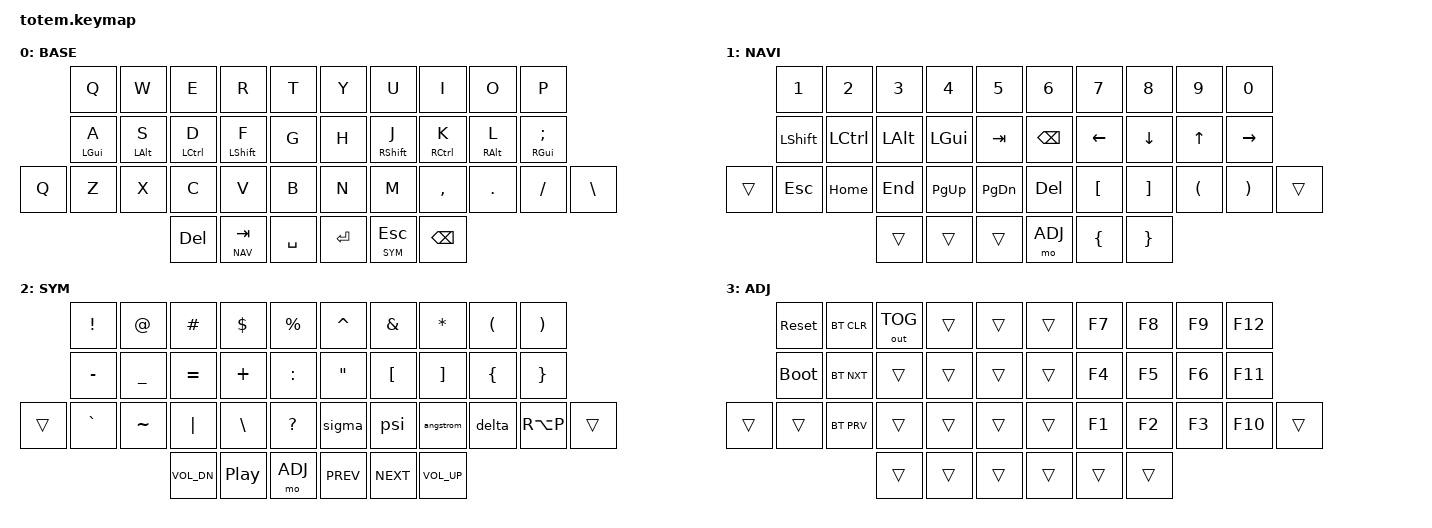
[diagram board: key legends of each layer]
//
//                                                        ▀▀▀▀▀     ▀▀▀▀▀          ▀▀█▀▀
//                                                        ▄▀▀▀▄  ▄  ▄▀▀▀▄  ▄  ▄▀▀▀▄  █  ▄▀▀▀▄
//                                                        █   █  █  █   █  █  █   █  █  █   █
//                                                         ▀▀▀   █   ▀▀▀   █   ▀▀▀   ▀   ▀▀▀
//                                                               █      ▄▄▄█▄▄▄    █   █  
//                                                               ▀      █  █  █     █▄█
//                                                             ▀▀▀▀▀    █  █  █      ▀
//                                                                      ▀  ▀  ▀
//
// ▄▄▄▄▄▄▄▄▄▄▄▄▄▄▄▄▄▄▄▄▄▄▄▄▄▄▄▄▄▄▄▄▄▄▄▄▄▄▄▄▄▄▄▄▄▄▄▄▄▄▄▄▄▄▄▄▄▄▄▄▄▄▄▄▄▄▄▄▄▄▄▄▄▄▄▄▄▄▄▄▄▄▄▄▄▄▄▄▄▄▄▄▄▄▄▄▄▄▄▄▄▄▄▄▄▄▄▄▄▄▄▄▄▄▄▄▄▄▄▄▄▄▄▄▄▄▄▄▄▄▄▄▄▄▄▄▄▄▄▄▄▄▄▄▄▄▄▄▄
       

#include <behaviors.dtsi>
#include <dt-bindings/zmk/keys.h>
#include <dt-bindings/zmk/bt.h>
#include <dt-bindings/zmk/outputs.h>

#define BASE 0
#define NAV  1
#define SYM  2
#define ADJ  3

&mt {
  quick-tap-ms = <100>;
  global-quick-tap;
  flavor = "tap-preferred";
  tapping-term-ms = <170>;
};

/ {
     combos {
            compatible = "zmk,combos";
            combo_esc {
                timeout-ms = <50>;
                key-positions = <0 1>;
                bindings = <&kp ESC>;
            };
    };

    macros {
        // Greek letter macros for materials science
        // NOTE: Requires "Unicode Hex Input" enabled in macOS Input Sources
        // System Settings > Keyboard > Input Sources > + > Add "Unicode Hex Input"

        sigma: sigma {
            label = "sigma_σ";
            compatible = "zmk,behavior-macro";
            #binding-cells = <0>;
            bindings
                = <&macro_press &kp LALT>
                , <&macro_tap &kp N0 &kp N3 &kp C &kp N3>
                , <&macro_release &kp LALT>
                ;
        };

        psi: psi {
            label = "psi_ψ";
            compatible = "zmk,behavior-macro";
            #binding-cells = <0>;
            bindings
                = <&macro_press &kp LALT>
                , <&macro_tap &kp N0 &kp N3 &kp C &kp N8>
                , <&macro_release &kp LALT>
                ;
        };

        angstrom: angstrom {
            label = "angstrom_Å";
            compatible = "zmk,behavior-macro";
            #binding-cells = <0>;
            bindings
                = <&macro_press &kp LALT>
                , <&macro_tap &kp N0 &kp N0 &kp C &kp N5>
                , <&macro_release &kp LALT>
                ;
        };

        delta: delta {
            label = "delta_δ";
            compatible = "zmk,behavior-macro";
            #binding-cells = <0>;
            bindings
                = <&macro_press &kp LALT>
                , <&macro_tap &kp N0 &kp N3 &kp B &kp N4>
                , <&macro_release &kp LALT>
                ;
        };
    };

        keymap {
                compatible = "zmk,keymap";
// ▄▄▄▄▄▄▄▄▄▄▄▄▄▄▄▄▄▄▄▄▄▄▄▄▄▄▄▄▄▄▄▄▄▄▄▄▄▄▄▄▄▄▄▄▄▄▄▄▄▄▄▄▄▄▄▄▄▄▄▄▄▄▄▄▄▄▄▄▄▄▄▄▄▄▄▄▄▄▄▄▄▄▄▄▄▄▄▄▄▄▄▄▄▄▄▄▄▄▄▄▄▄▄▄▄▄▄▄▄▄▄▄▄▄▄▄▄▄▄▄▄▄▄▄▄▄▄▄▄▄▄▄▄▄▄▄▄▄▄▄▄▄▄▄▄▄▄▄▄

                base_layer {
// ┏━━━━━━━━━━━━━━━━━━━━━━━━━━━━━━━━━━━━━━━┓
label= "BASE"                              ;
// ┗━━━━━━━━━━━━━━━━━━━━━━━━━━━━━━━━━━━━━━━┛
//             ┏━━━━━━━━━━━┳━━━━━━━━━━━┳━━━━━━━━━━━┳━━━━━━━━━━━┳━━━━━━━━━━━┓   ┏━━━━━━━━━━━┳━━━━━━━━━━━┳━━━━━━━━━━━┳━━━━━━━━━━━┳━━━━━━━━━━━┓
//             ┃     Q     ┃     W     ┃     E     ┃     R     ┃     T     ┃   ┃     Y     ┃     U     ┃     I     ┃     O     ┃     P     ┃
//             ┣━━━━━━━━━━━╋━━━━━━━━━━━╋━━━━━━━━━━━╋━━━━━━━━━━━╋━━━━━━━━━━━┫   ┣━━━━━━━━━━━╋━━━━━━━━━━━╋━━━━━━━━━━━╋━━━━━━━━━━━╋━━━━━━━━━━━┫
//             ┃     A     ┃     S     ┃     D     ┃     F     ┃     G     ┃   ┃     H     ┃     J     ┃     K     ┃     L     ┃     ;     ┃
// ┏━━━━━━━━━━━╋━━━━━━━━━━━╋━━━━━━━━━━━╋━━━━━━━━━━━╋━━━━━━━━━━━╋━━━━━━━━━━━┫   ┣━━━━━━━━━━━╋━━━━━━━━━━━╋━━━━━━━━━━━╋━━━━━━━━━━━╋━━━━━━━━━━━╋━━━━━━━━━━━┓
// ┃     Q     ┃     Z     ┃     X     ┃     C     ┃     V     ┃     B     ┃   ┃     N     ┃     M     ┃     ,     ┃     .     ┃     /     ┃     \     ┃
// ┗━━━━━━━━━━━┻━━━━━━━━━━━┻━━━━━━━━━━━╋━━━━━━━━━━━╋━━━━━━━━━━━╋━━━━━━━━━━━┫   ┣━━━━━━━━━━━╋━━━━━━━━━━━╋━━━━━━━━━━━╋━━━━━━━━━━━┻━━━━━━━━━━━┻━━━━━━━━━━━┛
//                                     ┃    DEL    ┃    TAB    ┃    SPC    ┃   ┃   ENTER   ┃           ┃   BSPC    ┃
//                                     ┗━━━━━━━━━━━┻━━━━━━━━━━━┻━━━━━━━━━━━┛   ┗━━━━━━━━━━━┻━━━━━━━━━━━┻━━━━━━━━━━━┛
 bindings = <
// ╷           ╷           ╷           ╷           ╷           ╷           ╷   ╷           ╷           ╷           ╷           ╷           ╷           ╷

                &kp Q       &kp W       &kp E       &kp R       &kp T           &kp Y       &kp U       &kp I       &kp O       &kp P
                &mt LGUI A  &mt LALT S  &mt LCTRL D &mt LSHFT F &kp G           &kp H       &mt RSHFT J &mt RCTRL K &mt RALT L  &mt RGUI SEMI
    &kp Q       &kp Z       &kp X       &kp C       &kp V       &kp B           &kp N       &kp M       &kp COMMA   &kp DOT     &kp FSLH    &kp BSLH
                                        &kp DEL   &lt NAV TAB   &kp SPACE       &kp RET   &lt SYM ESC   &kp BSPC
                        >;
                };

// ▄▄▄▄▄▄▄▄▄▄▄▄▄▄▄▄▄▄▄▄▄▄▄▄▄▄▄▄▄▄▄▄▄▄▄▄▄▄▄▄▄▄▄▄▄▄▄▄▄▄▄▄▄▄▄▄▄▄▄▄▄▄▄▄▄▄▄▄▄▄▄▄▄▄▄▄▄▄▄▄▄▄▄▄▄▄▄▄▄▄▄▄▄▄▄▄▄▄▄▄▄▄▄▄▄▄▄▄▄▄▄▄▄▄▄▄▄▄▄▄▄▄▄▄▄▄▄▄▄▄▄▄▄▄▄▄▄▄▄▄▄▄▄▄▄▄▄▄▄


                nav_layer {
// ┏━━━━━━━━━━━━━━━━━━━━━━━━━━━━━━━━━━━━━━━┓
label= "NAVI"                              ;
// ┗━━━━━━━━━━━━━━━━━━━━━━━━━━━━━━━━━━━━━━━┛
//             ┏━━━━━━━━━━━┳━━━━━━━━━━━┳━━━━━━━━━━━┳━━━━━━━━━━━┳━━━━━━━━━━━┓   ┏━━━━━━━━━━━┳━━━━━━━━━━━┳━━━━━━━━━━━┳━━━━━━━━━━━┳━━━━━━━━━━━┓
//             ┃     1     ┃     2     ┃     3     ┃     4     ┃     5     ┃   ┃     6     ┃     7     ┃     8     ┃     9     ┃     0     ┃
//             ┣━━━━━━━━━━━╋━━━━━━━━━━━╋━━━━━━━━━━━╋━━━━━━━━━━━╋━━━━━━━━━━━┫   ┣━━━━━━━━━━━╋━━━━━━━━━━━╋━━━━━━━━━━━╋━━━━━━━━━━━╋━━━━━━━━━━━┫
//             ┃   SHIFT   ┃   CTRL    ┃    ALT    ┃    GUI    ┃    TAB    ┃   ┃   BSPC    ┃  LEFT(H)  ┃  DOWN(J)  ┃   UP(K)   ┃  RIGHT(L) ┃
// ┏━━━━━━━━━━━╋━━━━━━━━━━━╋━━━━━━━━━━━╋━━━━━━━━━━━╋━━━━━━━━━━━╋━━━━━━━━━━━┫   ┣━━━━━━━━━━━╋━━━━━━━━━━━╋━━━━━━━━━━━╋━━━━━━━━━━━╋━━━━━━━━━━━╋━━━━━━━━━━━┓
// ┃           ┃    ESC    ┃   HOME    ┃    END    ┃   PG UP   ┃  PG DOWN  ┃   ┃    DEL    ┃     [     ┃     ]     ┃     (     ┃     )     ┃           ┃
// ┗━━━━━━━━━━━┻━━━━━━━━━━━┻━━━━━━━━━━━╋━━━━━━━━━━━╋━━━━━━━━━━━╋━━━━━━━━━━━┫   ┣━━━━━━━━━━━╋━━━━━━━━━━━╋━━━━━━━━━━━╋━━━━━━━━━━━┻━━━━━━━━━━━┻━━━━━━━━━━━┛
//                                     ┃           ┃    TAB    ┃    SPC    ┃   ┃    ADJ    ┃     {     ┃     }     ┃
//                                     ┗━━━━━━━━━━━┻━━━━━━━━━━━┻━━━━━━━━━━━┛   ┗━━━━━━━━━━━┻━━━━━━━━━━━┻━━━━━━━━━━━┛
 bindings = <
// ╷           ╷           ╷           ╷           ╷           ╷           ╷   ╷           ╷           ╷           ╷           ╷           ╷           ╷

                &kp N1      &kp N2      &kp N3      &kp N4      &kp N5          &kp N6      &kp N7      &kp N8      &kp N9      &kp N0
                &kp LSHFT   &kp LCTRL   &kp LALT    &kp LGUI    &kp TAB         &kp BSPC    &kp LEFT    &kp DOWN    &kp UP      &kp RIGHT
    &trans      &kp ESC     &kp HOME    &kp END     &kp PG_UP   &kp PG_DN       &kp DEL     &kp LBKT    &kp RBKT    &kp LPAR    &kp RPAR    &trans
                                        &trans      &trans      &trans          &mo ADJ     &kp LBRC    &kp RBRC
                        >;
                };

// ▄▄▄▄▄▄▄▄▄▄▄▄▄▄▄▄▄▄▄▄▄▄▄▄▄▄▄▄▄▄▄▄▄▄▄▄▄▄▄▄▄▄▄▄▄▄▄▄▄▄▄▄▄▄▄▄▄▄▄▄▄▄▄▄▄▄▄▄▄▄▄▄▄▄▄▄▄▄▄▄▄▄▄▄▄▄▄▄▄▄▄▄▄▄▄▄▄▄▄▄▄▄▄▄▄▄▄▄▄▄▄▄▄▄▄▄▄▄▄▄▄▄▄▄▄▄▄▄▄▄▄▄▄▄▄▄▄▄▄▄▄▄▄▄▄▄▄▄▄


                sim_layer {
// ┏━━━━━━━━━━━━━━━━━━━━━━━━━━━━━━━━━━━━━━━┓
label= "SYM"                               ;
// ┗━━━━━━━━━━━━━━━━━━━━━━━━━━━━━━━━━━━━━━━┛
//             ┏━━━━━━━━━━━┳━━━━━━━━━━━┳━━━━━━━━━━━┳━━━━━━━━━━━┳━━━━━━━━━━━┓   ┏━━━━━━━━━━━┳━━━━━━━━━━━┳━━━━━━━━━━━┳━━━━━━━━━━━┳━━━━━━━━━━━┓
//             ┃     !     ┃     @     ┃     #     ┃     $     ┃     %     ┃   ┃     ^     ┃     &     ┃     *     ┃     (     ┃     )     ┃
//             ┣━━━━━━━━━━━╋━━━━━━━━━━━╋━━━━━━━━━━━╋━━━━━━━━━━━╋━━━━━━━━━━━┫   ┣━━━━━━━━━━━╋━━━━━━━━━━━╋━━━━━━━━━━━╋━━━━━━━━━━━╋━━━━━━━━━━━┫
//             ┃     -     ┃     _     ┃     =     ┃     +     ┃     :     ┃   ┃     "     ┃     [     ┃     ]     ┃     {     ┃     }     ┃
// ┏━━━━━━━━━━━╋━━━━━━━━━━━╋━━━━━━━━━━━╋━━━━━━━━━━━╋━━━━━━━━━━━╋━━━━━━━━━━━┫   ┣━━━━━━━━━━━╋━━━━━━━━━━━╋━━━━━━━━━━━╋━━━━━━━━━━━╋━━━━━━━━━━━╋━━━━━━━━━━━┓
// ┃           ┃     `     ┃     ~     ┃     |     ┃     \     ┃     ?     ┃   ┃   σ(sig)  ┃   ψ(psi)  ┃   Å(ang)  ┃   δ(del)  ┃   π(pi)   ┃           ┃
// ┗━━━━━━━━━━━┻━━━━━━━━━━━┻━━━━━━━━━━━╋━━━━━━━━━━━╋━━━━━━━━━━━╋━━━━━━━━━━━┫   ┣━━━━━━━━━━━╋━━━━━━━━━━━╋━━━━━━━━━━━╋━━━━━━━━━━━┻━━━━━━━━━━━┻━━━━━━━━━━━┛
//                                     ┃   VOL-    ┃   PLAY    ┃    ADJ    ┃   ┃   PREV    ┃    NEXT   ┃   VOL+    ┃
//                                     ┗━━━━━━━━━━━┻━━━━━━━━━━━┻━━━━━━━━━━━┛   ┗━━━━━━━━━━━┻━━━━━━━━━━━┻━━━━━━━━━━━┛
 bindings = <
// ╷           ╷           ╷           ╷           ╷           ╷           ╷   ╷           ╷           ╷           ╷           ╷           ╷           ╷

                &kp EXCL    &kp AT      &kp HASH    &kp DLLR    &kp PRCNT       &kp CARET   &kp AMPS    &kp ASTRK   &kp LPAR    &kp RPAR
                &kp MINUS   &kp UNDER   &kp EQUAL   &kp PLUS    &kp COLON       &kp DQT     &kp LBKT    &kp RBKT    &kp LBRC    &kp RBRC
    &trans      &kp GRAVE   &kp TILDE   &kp PIPE    &kp BSLH    &kp QMARK       &sigma      &psi        &angstrom   &delta      &kp RA(P)   &trans
                                        &kp C_VOL_DN &kp C_PP   &mo ADJ         &kp C_PREV  &kp C_NEXT  &kp C_VOL_UP
                        >;
                };

// ▄▄▄▄▄▄▄▄▄▄▄▄▄▄▄▄▄▄▄▄▄▄▄▄▄▄▄▄▄▄▄▄▄▄▄▄▄▄▄▄▄▄▄▄▄▄▄▄▄▄▄▄▄▄▄▄▄▄▄▄▄▄▄▄▄▄▄▄▄▄▄▄▄▄▄▄▄▄▄▄▄▄▄▄▄▄▄▄▄▄▄▄▄▄▄▄▄▄▄▄▄▄▄▄▄▄▄▄▄▄▄▄▄▄▄▄▄▄▄▄▄▄▄▄▄▄▄▄▄▄▄▄▄▄▄▄▄▄▄▄▄▄▄▄▄▄▄▄▄


                adjust_layer {
// ┏━━━━━━━━━━━━━━━━━━━━━━━━━━━━━━━━━━━━━━━┓
label= "ADJ"                               ;
// ┗━━━━━━━━━━━━━━━━━━━━━━━━━━━━━━━━━━━━━━━┛
//             ┏━━━━━━━━━━━┳━━━━━━━━━━━┳━━━━━━━━━━━┳━━━━━━━━━━━┳━━━━━━━━━━━┓   ┏━━━━━━━━━━━┳━━━━━━━━━━━┳━━━━━━━━━━━┳━━━━━━━━━━━┳━━━━━━━━━━━┓
//             ┃   RESET   ┃ BT CLEAR  ┃  OUT TOG  ┃           ┃           ┃   ┃           ┃    F7     ┃    F8     ┃    F9     ┃    F12    ┃
//             ┣━━━━━━━━━━━╋━━━━━━━━━━━╋━━━━━━━━━━━╋━━━━━━━━━━━╋━━━━━━━━━━━┫   ┣━━━━━━━━━━━╋━━━━━━━━━━━╋━━━━━━━━━━━╋━━━━━━━━━━━╋━━━━━━━━━━━┫
//             ┃ BOOTLOAD  ┃ BT NEXT   ┃           ┃           ┃           ┃   ┃           ┃    F4     ┃    F5     ┃    F6     ┃    F11    ┃
// ┏━━━━━━━━━━━╋━━━━━━━━━━━╋━━━━━━━━━━━╋━━━━━━━━━━━╋━━━━━━━━━━━╋━━━━━━━━━━━┫   ┣━━━━━━━━━━━╋━━━━━━━━━━━╋━━━━━━━━━━━╋━━━━━━━━━━━╋━━━━━━━━━━━╋━━━━━━━━━━━┓
// ┃           ┃           ┃ BT PREV   ┃           ┃           ┃           ┃   ┃           ┃    F1     ┃    F2     ┃    F3     ┃    F10    ┃           ┃
// ┗━━━━━━━━━━━┻━━━━━━━━━━━┻━━━━━━━━━━━╋━━━━━━━━━━━╋━━━━━━━━━━━╋━━━━━━━━━━━┫   ┣━━━━━━━━━━━╋━━━━━━━━━━━╋━━━━━━━━━━━╋━━━━━━━━━━━┻━━━━━━━━━━━┻━━━━━━━━━━━┛
//                                     ┃           ┃           ┃           ┃   ┃           ┃           ┃           ┃
//                                     ┗━━━━━━━━━━━┻━━━━━━━━━━━┻━━━━━━━━━━━┛   ┗━━━━━━━━━━━┻━━━━━━━━━━━┻━━━━━━━━━━━┛
 bindings = <
// ╷           ╷           ╷           ╷           ╷           ╷           ╷   ╷           ╷           ╷           ╷           ╷           ╷           ╷

                &sys_reset  &bt BT_CLR &out OUT_TOG &trans      &trans          &trans      &kp F7      &kp F8      &kp F9      &kp F12
                &bootloader &bt BT_NXT  &trans      &trans      &trans          &trans      &kp F4      &kp F5      &kp F6      &kp F11  
    &trans      &trans      &bt BT_PRV  &trans      &trans      &trans          &trans      &kp F1      &kp F2      &kp F3      &kp F10     &trans         
                                        &trans      &trans      &trans          &trans      &trans      &trans      
                        >;
                };

        };
};
